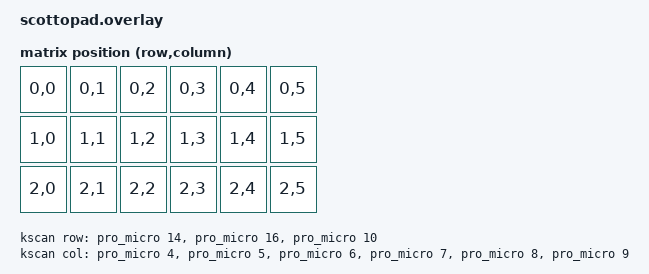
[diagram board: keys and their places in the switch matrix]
#include <physical_layouts.dtsi>
#include <dt-bindings/zmk/matrix_transform.h>

/ {
    chosen {
        zmk,physical-layout = &layout;
    };

    kscan: kscan {
        compatible = "zmk,kscan-gpio-matrix";
        diode-direction = "col2row";

        row-gpios = <&pro_micro 14 (GPIO_ACTIVE_HIGH | GPIO_PULL_DOWN)>,
                    <&pro_micro 16 (GPIO_ACTIVE_HIGH | GPIO_PULL_DOWN)>,
                    <&pro_micro 10 (GPIO_ACTIVE_HIGH | GPIO_PULL_DOWN)>;

        col-gpios = <&pro_micro 4 GPIO_ACTIVE_HIGH>,
                    <&pro_micro 5 GPIO_ACTIVE_HIGH>,
                    <&pro_micro 6 GPIO_ACTIVE_HIGH>,
                    <&pro_micro 7 GPIO_ACTIVE_HIGH>,
                    <&pro_micro 8 GPIO_ACTIVE_HIGH>,
                    <&pro_micro 9 GPIO_ACTIVE_HIGH>;
    };

    transform: matrix_transform {
        compatible = "zmk,matrix-transform";
        rows = <3>;
        columns = <6>;

        map = <
                RC(0, 0) RC(0, 1) RC(0, 2) RC(0, 3) RC(0, 4) RC(0, 5)
                RC(1, 0) RC(1, 1) RC(1, 2) RC(1, 3) RC(1, 4) RC(1, 5)
                RC(2, 0) RC(2, 1) RC(2, 2) RC(2, 3) RC(2, 4) RC(2, 5)
        >;
    };

    layout: layout {
        compatible = "zmk,physical-layout";
        display-name = "Ortho 3x6";
        transform = <&transform>;
        kscan = <&kscan>;

        keys  //                     w   h    x    y     rot    rx    ry
            = <&key_physical_attrs 100 100    0    0       0     0     0>
            , <&key_physical_attrs 100 100  100    0       0     0     0>
            , <&key_physical_attrs 100 100  200    0       0     0     0>
            , <&key_physical_attrs 100 100  300    0       0     0     0>
            , <&key_physical_attrs 100 100  400    0       0     0     0>
            , <&key_physical_attrs 100 100  500    0       0     0     0>
            , <&key_physical_attrs 100 100    0  100       0     0     0>
            , <&key_physical_attrs 100 100  100  100       0     0     0>
            , <&key_physical_attrs 100 100  200  100       0     0     0>
            , <&key_physical_attrs 100 100  300  100       0     0     0>
            , <&key_physical_attrs 100 100  400  100       0     0     0>
            , <&key_physical_attrs 100 100  500  100       0     0     0>
            , <&key_physical_attrs 100 100    0  200       0     0     0>
            , <&key_physical_attrs 100 100  100  200       0     0     0>
            , <&key_physical_attrs 100 100  200  200       0     0     0>
            , <&key_physical_attrs 100 100  300  200       0     0     0>
            , <&key_physical_attrs 100 100  400  200       0     0     0>
            , <&key_physical_attrs 100 100  500  200       0     0     0>
            ;
    };
};
